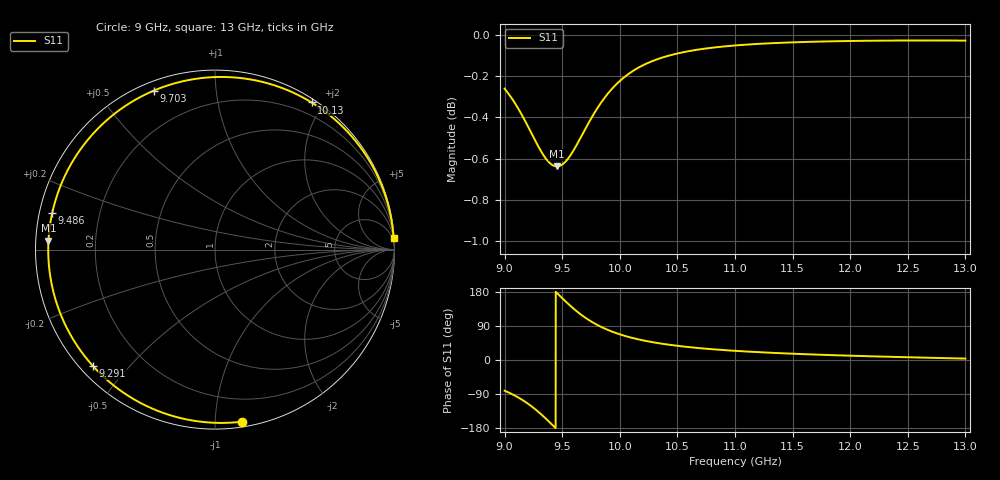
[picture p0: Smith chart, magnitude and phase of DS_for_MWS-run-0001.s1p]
! TOUCHSTONE file generated by CST DESIGN STUDIO
! Date and time: Wed Feb  5 13:46:28 2025
! Project name: C:\Work\MatlabApps\UnitCellOptimizationMatlab\CST\unitcell.cst
! Tree item: Tasks\Sweep1\SPara1\S-Parameters
! Header version: 2024
! Port assignment regex: !\s*Touchstone port\s*([0-9]+)\s*=\s*(CST MWS port|CST DES external port|CST DES block port)\s*(.+)\s* \(\"(.*)\"\)(\s*mode\s*([0-9]+))?.*
! Touchstone port assignment:
! Touchstone port 1 = CST DES external port 1 ("")
# GHz S MA R 50
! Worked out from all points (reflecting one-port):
!   4001 points, 9 GHz to 13 GHz, reference 50 ohm
!   lowest |S11| = -0.6 dB at 9.454 GHz (marker M1), VSWR 27.23, Z = 1.84 + j1.35 ohm
!   phase of S11 starts at -81 deg and turns -275 deg over the sweep
!   S11 on the Smith chart (normalised r, x): 9 GHz: 0.04, -1.17; 9.291 GHz: 0.04, -0.40; 9.486 GHz: 0.04, +0.11; 9.703 GHz: 0.04, +0.68; 10.13 GHz: 0.04, +1.85; 13 GHz: 1, +31
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9  0.9705 -81.0
9.09  0.9626 -94.1
9.163  0.9548 -107.1
9.229  0.947 -121.1
9.291  0.9398 -136.3
9.333  0.9354 -147.6
9.378  0.9317 -160.4
9.417  0.9298 -172.0
9.454  0.9292 176.9
9.486  0.9296 167.3
9.5  0.9301 163.1
9.548  0.933 149.3
9.603  0.938 134.4
9.652  0.9433 122.4
9.703  0.9491 111.1
9.761  0.9555 99.9
9.826  0.9619 89.1
9.911  0.9689 77.5
10  0.9746 67.7
10.129  0.9807 56.7
10.296  0.9859 46.4
10.5  0.9898 37.4
10.723  0.9923 30.5
11  0.9942 24.2
11.5  0.996 16.6
12  0.9967 11.3
12.5  0.997 7.2
13  0.9969 3.7
